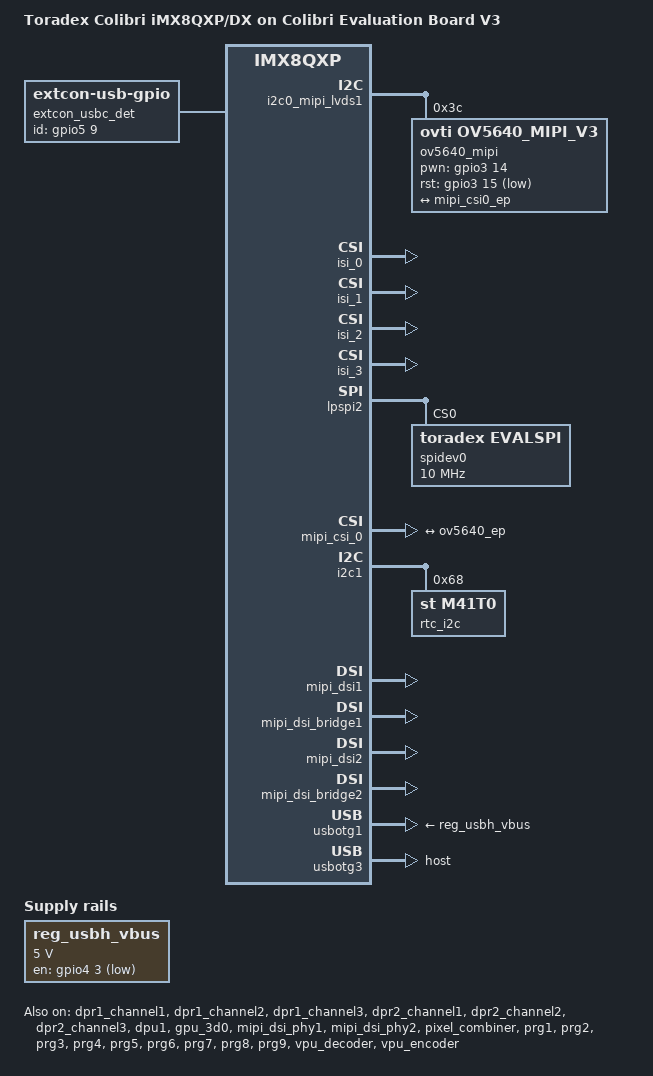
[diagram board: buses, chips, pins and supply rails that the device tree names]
// SPDX-License-Identifier: GPL-2.0+ OR X11
/*
 * Copyright 2018-2019 Toradex
 */

/dts-v1/;

/*
 * Choose output point for LCDIF block:
 * By default use LCD Panel driver:
 * - Panel connected to
 *   - Generic Display Connector X20;
 *   - Unified Interface Display Connector X34;
 * OR
 * - VGA monitor connected to X24.
 *
 * Define LCDIF_OUT_ADV7125 to use ONLY (!) VGA monitor connected to X24
 * with our without DDC channel to use higher resolutions.
 *
 * NOTE: LCDIF output to LVDS transmitter is not supported for now.
 */
//#define LCDIF_OUT_ADV7125

#include "dt-bindings/pwm/pwm.h"
#include "fsl-imx8qxp-colibri.dtsi"

/ {
	model = "Toradex Colibri iMX8QXP/DX on Colibri Evaluation Board V3";
	compatible = "toradex,colibri-imx8qxp-eval-v3", "toradex,colibri-imx8qxp", "fsl,imx8qxp";

	aliases {
		rtc0 = &rtc_i2c;
		rtc1 = &rtc;
	};

	display-subsystem {
		status = "disabled";
	};

	extcon_usbc_det: usbc_det {
		compatible = "linux,extcon-usb-gpio";
		debounce = <25>;
		id-gpio = <&gpio5 9 GPIO_ACTIVE_HIGH>;
		pinctrl-names = "default";
		pinctrl-0 = <&pinctrl_usbc_det>;
	};

		compatible = "pwm-backlight";
		pinctrl-names = "default";
		pinctrl-0 = <&pinctrl_gpio_bl_on>;
		gpios = <&gpio3 12 GPIO_ACTIVE_HIGH>; /* BKL1_ON */
		pwms = <&pwm_adma_lcdif 0 100000 PWM_POLARITY_INVERTED>;

		brightness-levels = <0 4 8 16 32 64 128 255>;
		default-brightness-level = <6>;
		status = "okay";
	};

	panel {
		compatible = "edt,et070080dh6";
		backlight = <&backlight>;
		enable-gpios = <&gpio4 19 GPIO_ACTIVE_HIGH>;

		port {
			lcd_display_in: endpoint {
				remote-endpoint = <&lcdif_out>;
			};
		};
	};
#else
	vga {
		compatible = "vga-connector";
		label = "vga";
		status = "okay";

		port {
			vga_in: endpoint {
				remote-endpoint = <&adv7125_out>;
			};
		};
	};

	vga-encoder {
		compatible = "adi,adv7125", "adi,adv7123";
		status = "okay";
		vdd-supply = <&vdd_3v3_vga>;

		ports {
			#address-cells = <1>;
			#size-cells = <0>;

			port@0 {
				reg = <0>;
				lcd_display_in: endpoint {
					remote-endpoint = <&lcdif_out>;
				};
			};
			port@1 {
				reg = <1>;
				adv7125_out: endpoint {
					remote-endpoint = <&vga_in>;
				};
			};
		};
	};
#endif

	regulators {
		reg_usbh_vbus: regulator-usbh-vbus {
			compatible = "regulator-fixed";
			pinctrl-names = "default";
			pinctrl-0 = <&pinctrl_usbh1_reg>;
			regulator-name = "usbh_vbus";
			regulator-min-microvolt = <5000000>;
			regulator-max-microvolt = <5000000>;
			gpio = <&gpio4 3 GPIO_ACTIVE_LOW>;
			regulator-always-on;
		};
	};
};

&adma_lcdif {
	pinctrl-names = "default";
	/* Dumb DAC to VGA converter doesn't support backlight, so
	 * instead use enable-gpios for LCDIF driver for this configuration
	 */
#ifndef LCDIF_OUT_ADV7125
	pinctrl-0 = <&pinctrl_lcdif>;
#else
	pinctrl-0 = <&pinctrl_lcdif &pinctrl_gpio_bl_on>;
	enable-gpios = <&gpio3 12 GPIO_ACTIVE_HIGH>; /* BKL1_ON */
	pinctrl-assert-gpios = <&gpio4 19 GPIO_ACTIVE_HIGH>;
#endif
	/* By default, Colibri iMX8QXP uses 18-bits output bus for eLCDIF.
	 * However, you can configure it to support 24-bits output.
	 * "X20 Generic Display Connector" of Colibri Evaluation Board v3.2
	 * supports 24-bits mode.
	 */
	bus-width = <18>;
	status = "okay";

	port@0 {
		lcdif_out: lcdif-endpoint {
			remote-endpoint = <&lcd_display_in>;
		};
	};
};

/* Display Prefetch Resolve, (Tiling) */
&dpr1_channel1 {
	status = "okay";
};

&dpr1_channel2 {
	status = "okay";
};

&dpr1_channel3 {
	status = "okay";
};

&dpr2_channel1 {
	status = "okay";
};

&dpr2_channel2 {
	status = "okay";
};

&dpr2_channel3 {
	status = "okay";
};

&dpu1 {
	status = "okay";
};

&gpu_3d0 {
	status = "okay";
};

/* On-module MIPI CSI I2C accessible on FFC (X3) */
&i2c0_mipi_lvds1 {
	status = "okay";

	ov5640_mipi: ov5640_mipi@3c {
		compatible = "ovti,ov5640_mipi_v3";
		clocks = <&clk IMX8QXP_24MHZ>;
		clock-names = "csi_mclk";
		csi_id = <0>;
		mclk = <24000000>;
		mclk_source = <0>;
		mipi_csi;
		pinctrl-names = "default";
		pinctrl-0 = <&pinctrl_csi_ctl>;
		pwn-gpios = <&gpio3 14 GPIO_ACTIVE_HIGH>;
		reg = <0x3c>;
		rst-gpios = <&gpio3 15 GPIO_ACTIVE_LOW>;
		status = "okay";

		port {
			ov5640_ep: endpoint {
				remote-endpoint = <&mipi_csi0_ep>;
			};
		};
	};
};

&isi_0 {
	status = "okay";
};

&isi_1 {
	status = "okay";
};

&isi_2 {
	status = "okay";
};

&isi_3 {
	status = "okay";
};

&ldb1 {
	status = "disabled";
};

&ldb1_phy {
	status = "disabled";
};

/* Colibri SPI */
&lpspi2 {
	status = "okay";

	spidev0: spidev@0 {
		compatible = "toradex,evalspi";
		reg = <0>;
		spi-max-frequency = <10000000>;
	};
};

/* On-module MIPI CSI accessible via FFC (X3) */
&mipi_csi_0 {
	status = "okay";

	/* Camera 0 MIPI CSI-2 (CSIS0) */
	port@0 {
		reg = <0>;

		mipi_csi0_ep: endpoint {
			data-lanes = <1 2>;
			remote-endpoint = <&ov5640_ep>;
		};
	};
};

&i2c1 {
	status = "okay";

	/* M41T0M6 real time clock on carrier board */
	rtc_i2c: rtc@68 {
		compatible = "st,m41t0";
		reg = <0x68>;
	};
};

&mipi_dsi1 {
	status = "okay";
};

&mipi_dsi_bridge1 {
	status = "okay";
};

&mipi_dsi_phy1 {
	status = "okay";
};

&mipi_dsi2 {
	status = "okay";
};

&mipi_dsi_bridge2 {
	status = "okay";
};

&mipi_dsi_phy2 {
	status = "okay";
};

&ldb2_phy {
	status = "disabled";
};

&ldb2 {
	status = "disabled";

	lvds-channel@0 {
		fsl,data-mapping = "jeida";
		fsl,data-width = <24>;
		status = "okay";
	};
};

&pixel_combiner {
	status = "okay";
};

&pwm_adma_lcdif {
	pinctrl-names = "default";
	pinctrl-0 = <&pinctrl_pwm_a>;
	status = "okay";
};

&prg1 {
	status = "okay";
};

&prg2 {
	status = "okay";
};

&prg3 {
	status = "okay";
};

&prg4 {
	status = "okay";
};

&prg5 {
	status = "okay";
};

&prg6 {
	status = "okay";
};

&prg7 {
	status = "okay";
};

&prg8 {
	status = "okay";
};

&prg9 {
	status = "okay";
};

&usbotg1 {
	extcon = <&extcon_usbc_det &extcon_usbc_det>;
	vbus-supply = <&reg_usbh_vbus>;
	srp-disable;
	hnp-disable;
	adp-disable;
	power-polarity-active-high;
	disable-over-current;
	status = "okay";
};

&usbotg3 {
	dr_mode = "host";
	status = "okay";
};

&vpu {
	status = "disabled";
};

&vpu_decoder {
	status = "okay";
};

&vpu_encoder {
	status = "okay";
};
